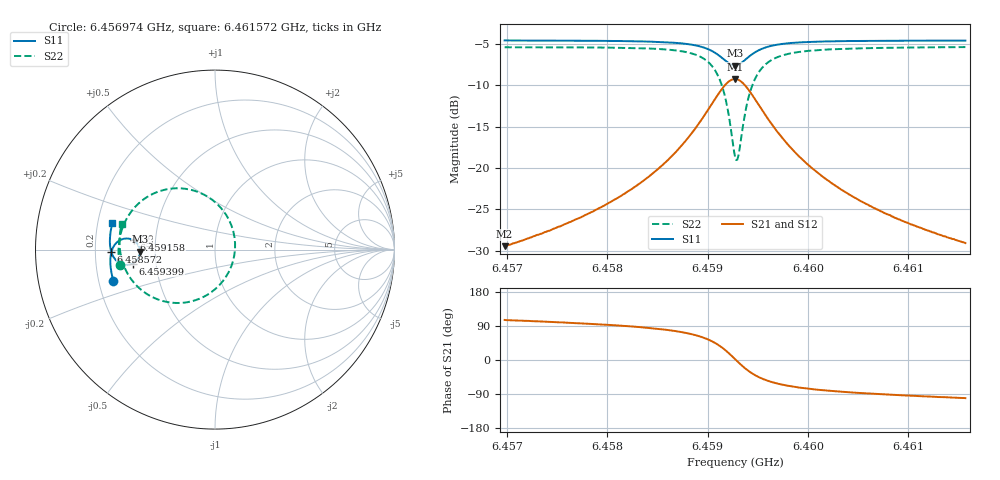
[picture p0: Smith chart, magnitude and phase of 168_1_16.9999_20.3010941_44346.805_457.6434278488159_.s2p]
#  HZ  S  RI  R  50.00
! Rohde & Schwarz Vector Network Analyzer
! Rohde-Schwarz,ZNB20-2Port,1311601062101988,3.16
! Created: UTC 3/20/2024, 10:59:37 PM
! freq[Hz]  re:S11  im:S11  re:S21  im:S21  re:S12  im:S12  re:S22  im:S22
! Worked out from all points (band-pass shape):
!   401 points, 6.456974 GHz to 6.461572 GHz, reference 50 ohm
!   highest |S21| = -9.23 dB at 6.459273 GHz (marker M1); lowest = -29.5 dB at 6.456974 GHz (marker M2)
!   |S21| within 3 dB of the highest: 6.459043 GHz to 6.459503 GHz (460.2 kHz wide, 0.00712 % of centre)
!   lowest |S11| = -7.6 dB at 6.459273 GHz (marker M3), VSWR 2.43, Z = 20.5 - j0.587 ohm
!   |S11| at or under -10 dB: nowhere
!   |S22| runs from -19.0 to -5.4 dB; largest |S21 - S12| = 0.013
!   S11 on the Smith chart (normalised r, x): 6.456974 GHz: 0.26, -0.14; 6.458572 GHz: 0.27, -0.01; 6.459158 GHz: 0.37, +0.05; 6.459399 GHz: 0.37, -0.07; 6.461572 GHz: 0.26, +0.12
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6.456974e9  -0.5661 -0.1735  -0.0091 0.0324  -0.00731 0.0325  -0.5315 -0.0867
6.4577441e9  -0.5803 -0.1063  -0.0057 0.0504  -0.00333 0.0498  -0.5372 0.00333
6.4581694e9  -0.5834 -0.0637  6.13e-05 0.0698  0.00337 0.0686  -0.5294 0.0708
6.4585142e9  -0.5796 -0.0225  0.014 0.0989  0.0179 0.0963  -0.5042 0.1485
6.4585717e9  -0.5778 -0.0145  0.0183 0.1058  0.0223 0.1027  -0.4961 0.1651
6.4587786e9  -0.5647 0.0176  0.0457 0.1382  0.0499 0.1335  -0.4448 0.238
6.4589281e9  -0.5421 0.0441  0.0911 0.1692  0.0941 0.1624  -0.3616 0.3028
6.459066e9  -0.4982 0.0617  0.1783 0.1857  0.1793 0.1784  -0.2022 0.3417
6.459158e9  -0.4535 0.0514  0.2684 0.1545  0.2686 0.1488  -0.0356 0.2914
6.4592269e9  -0.4244 0.0194  0.329 0.0825  0.3311 0.0774  0.0796 0.162
6.4592729e9  -0.4174 -0.0118  0.3454 0.0146  0.349 0.00773  0.1119 0.0352
6.4592844e9  -0.4178 -0.0199  0.3452 -0.0032  0.349 -0.0107  0.1117 0.0018
6.4593074e9  -0.4214 -0.0355  0.3395 -0.0379  0.3435 -0.0468  0.1004 -0.064
6.4593534e9  -0.437 -0.0617  0.311 -0.0977  0.3132 -0.1094  0.0429 -0.1767
6.4593993e9  -0.4591 -0.078  0.269 -0.1386  0.2682 -0.1518  -0.0418 -0.2514
6.4594913e9  -0.5025 -0.0848  0.1844 -0.1699  0.1784 -0.1812  -0.2101 -0.2975
6.4596407e9  -0.5464 -0.0644  0.0966 -0.1562  0.0883 -0.1624  -0.3774 -0.2487
6.4598017e9  -0.5681 -0.0368  0.0517 -0.1286  0.0443 -0.1312  -0.4576 -0.177
6.460043e9  -0.5808 -0.00131  0.0226 -0.0971  0.0168 -0.0976  -0.5057 -0.095
6.4603994e9  -0.5856 0.0408  0.00621 -0.0698  0.00219 -0.0692  -0.5279 -0.0138
6.4608132e9  -0.5838 0.0824  -0.00119 -0.052  -0.00406 -0.051  -0.5321 0.052
6.4615718e9  -0.5718 0.1496  -0.00649 -0.0346  -0.00809 -0.0337  -0.5209 0.1416
